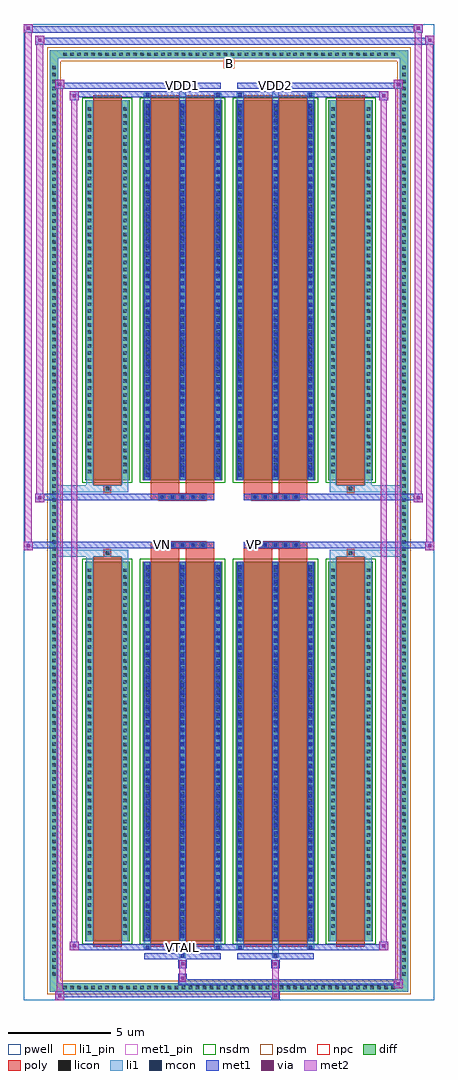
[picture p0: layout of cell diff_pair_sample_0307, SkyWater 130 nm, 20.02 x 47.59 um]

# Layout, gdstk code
import gdstk
lib = gdstk.Library(unit=1e-6, precision=5e-09)
def R(c, l, rs):  # rectangles x0, y0, x1, y1
    for r in rs: c.add(gdstk.rectangle(r[:2], r[2:], *l))
def A(c, l, x, y, w, h, nx, ny, dx, dy):  # array of equal rectangles
    R(c, l, [(x+i*dx, y+j*dy, x+i*dx+w, y+j*dy+h) for i in range(nx) for j in range(ny)])
def P(c, l, *ps):  # polygons
    for p in ps: c.add(gdstk.Polygon(p, *l))
pwell = (64, 44)
diff = (65, 20)
poly = (66, 20)
licon = (66, 44)
li1_pin = (67, 16)
li1 = (67, 20)
mcon = (67, 44)
met1_pin = (68, 16)
met1 = (68, 20)
via = (68, 44)
met2 = (69, 20)
nsdm = (93, 44)
psdm = (94, 20)
npc = (95, 20)

diff_pair_sample_0307 = lib.new_cell('diff_pair_sample_0307')
R(diff_pair_sample_0307, pwell, [(-10.01,-23.36,10.01,24.23), (-7.33,-21.55,-0.01,-0.805), (0.01,-21.55,7.33,-0.805), (-7.33,0.805,-0.01,21.55), (0.01,0.805,7.33,21.55)])
A(diff_pair_sample_0307, diff, -8.195, -22.96, 0.41, 0.41, 48, 2, 0.34, 45.51)
A(diff_pair_sample_0307, diff, -8.74, -22.305, 0.41, 0.41, 1, 131, 0, 0.34)
A(diff_pair_sample_0307, diff, 8.33, -22.305, 0.41, 0.41, 1, 131, 0, 0.34)
R(diff_pair_sample_0307, diff, [(-8.195,-22.96,8.195,-22.55), (-8.74,-22.305,-8.33,22.305), (8.33,-22.305,8.74,22.305), (-7.02,-20.505,-4.85,-1.985), (-4.21,-20.505,-0.32,-1.985), (0.32,-20.505,4.21,-1.985), (4.85,-20.505,7.02,-1.985), (-7.02,1.985,-4.85,20.505), (-4.21,1.985,-0.32,20.505), (0.32,1.985,4.21,20.505), (4.85,1.985,7.02,20.505), (-8.195,22.55,8.195,22.96)])
P(diff_pair_sample_0307, diff, [(8.74,22.96),(-8.74,22.96),(-8.74,-22.55),(-8.33,-22.55),(-8.33,22.55),(8.33,22.55),(8.33,-22.55),(-8.33,-22.55),(-8.74,-22.55),(-8.74,-22.96),(8.74,-22.96)])
A(diff_pair_sample_0307, poly, -3.43, -1.335, 0.33, 0.33, 5, 2, 0.5, 2.34)
A(diff_pair_sample_0307, poly, 1.1, -1.335, 0.33, 0.33, 5, 2, 0.5, 2.34)
R(diff_pair_sample_0307, poly, [(-6.63,-20.755,-5.24,-1.735), (-3.82,-20.755,-2.43,-1.735), (-2.1,-20.755,-0.71,-1.735), (0.71,-20.755,2.1,-1.735), (2.43,-20.755,3.82,-1.735), (5.24,-20.755,6.63,-1.735), (-6.1,-1.735,-5.77,-1.405), (-6.1,-1.735,-5.77,-1.405), (-3.82,-1.735,-2.43,-1.335), (-2.1,-1.735,-0.71,-1.335), (0.71,-1.735,2.1,-1.335), (2.43,-1.735,3.82,-1.335), (5.77,-1.735,6.1,-1.405), (5.77,-1.735,6.1,-1.405), (-3.82,-1.335,-0.71,-1.005), (0.71,-1.335,3.82,-1.005), (-3.82,1.005,-0.71,1.335), (0.71,1.005,3.82,1.335), (-3.82,1.335,-2.43,1.735), (-2.1,1.335,-0.71,1.735), (0.71,1.335,2.1,1.735), (2.43,1.335,3.82,1.735), (-6.1,1.405,-5.77,1.735), (-6.1,1.405,-5.77,1.735), (5.77,1.405,6.1,1.735), (5.77,1.405,6.1,1.735), (-6.63,1.735,-5.24,20.755), (-3.82,1.735,-2.43,20.755), (-2.1,1.735,-0.71,20.755), (0.71,1.735,2.1,20.755), (2.43,1.735,3.82,20.755), (5.24,1.735,6.63,20.755)])
A(diff_pair_sample_0307, licon, -8.075, -22.84, 0.17, 0.17, 48, 2, 0.34, 45.51)
A(diff_pair_sample_0307, licon, -8.62, -22.185, 0.17, 0.17, 1, 131, 0, 0.34)
A(diff_pair_sample_0307, licon, 8.45, -22.185, 0.17, 0.17, 1, 131, 0, 0.34)
A(diff_pair_sample_0307, licon, -6.88, -20.17, 0.17, 0.17, 1, 53, 0, 0.34)
A(diff_pair_sample_0307, licon, -5.16, -20.17, 0.17, 0.17, 1, 53, 0, 0.34)
A(diff_pair_sample_0307, licon, -4.07, -20.17, 0.17, 0.17, 3, 53, 1.72, 0.34)
A(diff_pair_sample_0307, licon, 0.46, -20.17, 0.17, 0.17, 3, 53, 1.72, 0.34)
A(diff_pair_sample_0307, licon, 4.99, -20.17, 0.17, 0.17, 1, 53, 0, 0.34)
A(diff_pair_sample_0307, licon, 6.71, -20.17, 0.17, 0.17, 1, 53, 0, 0.34)
A(diff_pair_sample_0307, licon, -3.35, -1.255, 0.17, 0.17, 5, 2, 0.5, 2.34)
A(diff_pair_sample_0307, licon, 1.18, -1.255, 0.17, 0.17, 5, 2, 0.5, 2.34)
A(diff_pair_sample_0307, licon, -6.88, 2.32, 0.17, 0.17, 1, 53, 0, 0.34)
A(diff_pair_sample_0307, licon, -5.16, 2.32, 0.17, 0.17, 1, 53, 0, 0.34)
A(diff_pair_sample_0307, licon, -4.07, 2.32, 0.17, 0.17, 3, 53, 1.72, 0.34)
A(diff_pair_sample_0307, licon, 0.46, 2.32, 0.17, 0.17, 3, 53, 1.72, 0.34)
A(diff_pair_sample_0307, licon, 4.99, 2.32, 0.17, 0.17, 1, 53, 0, 0.34)
A(diff_pair_sample_0307, licon, 6.71, 2.32, 0.17, 0.17, 1, 53, 0, 0.34)
R(diff_pair_sample_0307, licon, [(-6.02,-1.655,-5.85,-1.485), (5.85,-1.655,6.02,-1.485), (-6.02,1.485,-5.85,1.655), (5.85,1.485,6.02,1.655)])
R(diff_pair_sample_0307, li1_pin, [(-0.25,22.05,0.25,22.55)])
A(diff_pair_sample_0307, li1, -8.155, -22.92, 0.33, 0.33, 48, 2, 0.34, 45.51)
A(diff_pair_sample_0307, li1, -8.7, -22.265, 0.33, 0.33, 1, 131, 0, 0.34)
A(diff_pair_sample_0307, li1, 8.37, -22.265, 0.33, 0.33, 1, 131, 0, 0.34)
A(diff_pair_sample_0307, li1, -4.15, -20.505, 0.33, 18.52, 3, 2, 1.72, 22.49)
A(diff_pair_sample_0307, li1, 0.38, -20.505, 0.33, 18.52, 3, 2, 1.72, 22.49)
A(diff_pair_sample_0307, li1, -4.07, -20.33, 0.17, 0.17, 3, 51, 1.72, 0.36)
A(diff_pair_sample_0307, li1, -4.07, -20.33, 0.17, 18.17, 3, 2, 1.72, 22.49)
A(diff_pair_sample_0307, li1, 0.46, -20.33, 0.17, 0.17, 3, 51, 1.72, 0.36)
A(diff_pair_sample_0307, li1, 0.46, -20.33, 0.17, 18.17, 3, 2, 1.72, 22.49)
A(diff_pair_sample_0307, li1, -6.96, -20.25, 0.33, 0.33, 1, 53, 0, 0.34)
A(diff_pair_sample_0307, li1, -5.24, -20.25, 0.33, 0.33, 1, 53, 0, 0.34)
A(diff_pair_sample_0307, li1, -4.15, -20.25, 0.33, 0.33, 3, 53, 1.72, 0.34)
A(diff_pair_sample_0307, li1, 0.38, -20.25, 0.33, 0.33, 3, 53, 1.72, 0.34)
A(diff_pair_sample_0307, li1, 4.91, -20.25, 0.33, 0.33, 1, 53, 0, 0.34)
A(diff_pair_sample_0307, li1, 6.63, -20.25, 0.33, 0.33, 1, 53, 0, 0.34)
A(diff_pair_sample_0307, li1, -3.43, -1.335, 0.33, 0.33, 5, 2, 0.5, 2.34)
A(diff_pair_sample_0307, li1, 1.1, -1.335, 0.33, 0.33, 5, 2, 0.5, 2.34)
A(diff_pair_sample_0307, li1, -4.07, 2.16, 0.17, 0.17, 3, 51, 1.72, 0.36)
A(diff_pair_sample_0307, li1, 0.46, 2.16, 0.17, 0.17, 3, 51, 1.72, 0.36)
A(diff_pair_sample_0307, li1, -6.96, 2.24, 0.33, 0.33, 1, 53, 0, 0.34)
A(diff_pair_sample_0307, li1, -5.24, 2.24, 0.33, 0.33, 1, 53, 0, 0.34)
A(diff_pair_sample_0307, li1, -4.15, 2.24, 0.33, 0.33, 3, 53, 1.72, 0.34)
A(diff_pair_sample_0307, li1, 0.38, 2.24, 0.33, 0.33, 3, 53, 1.72, 0.34)
A(diff_pair_sample_0307, li1, 4.91, 2.24, 0.33, 0.33, 1, 53, 0, 0.34)
A(diff_pair_sample_0307, li1, 6.63, 2.24, 0.33, 0.33, 1, 53, 0, 0.34)
R(diff_pair_sample_0307, li1, [(-8.74,-22.96,-8.33,-22.55), (-8.74,-22.96,-8.33,-22.55), (-8.33,-22.96,8.33,-22.55), (8.33,-22.96,8.74,-22.55), (8.33,-22.96,8.74,-22.55), (-8.74,-22.55,-8.33,22.55), (8.33,-22.55,8.74,22.55), (-2.43,-21.31,-2.1,-20.505), (-2.35,-21.31,-2.18,-21.14), (2.1,-21.31,2.43,-20.505), (2.18,-21.31,2.35,-21.14), (-4.15,-20.88,-3.82,-20.505), (-4.07,-20.88,-3.9,-20.71), (-0.71,-20.88,-0.38,-20.505), (-0.63,-20.88,-0.46,-20.71), (0.38,-20.88,0.71,-20.505), (0.46,-20.88,0.63,-20.71), (3.82,-20.88,4.15,-20.505), (3.9,-20.88,4.07,-20.71), (-6.96,-20.505,-6.63,-1.985), (-5.24,-20.505,-4.91,-1.985), (4.91,-20.505,5.24,-1.985), (6.63,-20.505,6.96,-1.985), (-6.96,-1.985,-6.63,-1.405), (-5.24,-1.985,-4.91,-1.405), (4.91,-1.985,5.24,-1.405), (6.63,-1.985,6.96,-1.405), (-8.74,-1.735,-6.1,-1.405), (-6.96,-1.735,-6.1,-1.405), (-6.1,-1.735,-5.77,-1.405), (-5.77,-1.735,-4.91,-1.405), (4.91,-1.735,5.77,-1.405), (5.77,-1.735,6.1,-1.405), (5.77,-1.735,8.74,-1.405), (6.1,-1.735,6.96,-1.405), (-8.74,1.405,-6.1,1.735), (-6.96,1.405,-6.1,1.735), (-6.96,1.405,-6.63,1.985), (-6.1,1.405,-5.77,1.735), (-5.77,1.405,-4.91,1.735), (-5.24,1.405,-4.91,1.985), (4.91,1.405,5.77,1.735), (4.91,1.405,5.24,1.985), (5.77,1.405,6.1,1.735), (5.77,1.405,8.74,1.735), (6.1,1.405,6.96,1.735), (6.63,1.405,6.96,1.985), (-6.96,1.985,-6.63,20.505), (-5.24,1.985,-4.91,20.505), (4.91,1.985,5.24,20.505), (6.63,1.985,6.96,20.505), (-4.15,20.505,-3.82,20.88), (-2.43,20.505,-2.1,21.31), (-0.71,20.505,-0.38,20.88), (0.38,20.505,0.71,20.88), (2.1,20.505,2.43,21.31), (3.82,20.505,4.15,20.88), (-4.07,20.71,-3.9,20.88), (-0.63,20.71,-0.46,20.88), (0.46,20.71,0.63,20.88), (3.9,20.71,4.07,20.88), (-2.35,21.14,-2.18,21.31), (2.18,21.14,2.35,21.31), (-8.74,22.55,-8.33,22.96), (-8.74,22.55,-8.33,22.96), (-8.33,22.55,8.33,22.96), (8.33,22.55,8.74,22.96), (8.33,22.55,8.74,22.96)])
A(diff_pair_sample_0307, mcon, -4.07, -20.33, 0.17, 0.17, 3, 51, 1.72, 0.36)
A(diff_pair_sample_0307, mcon, 0.46, -20.33, 0.17, 0.17, 3, 51, 1.72, 0.36)
A(diff_pair_sample_0307, mcon, -3.35, -1.255, 0.17, 0.17, 5, 2, 0.5, 2.34)
A(diff_pair_sample_0307, mcon, 1.18, -1.255, 0.17, 0.17, 5, 2, 0.5, 2.34)
A(diff_pair_sample_0307, mcon, -4.07, 2.16, 0.17, 0.17, 3, 51, 1.72, 0.36)
A(diff_pair_sample_0307, mcon, 0.46, 2.16, 0.17, 0.17, 3, 51, 1.72, 0.36)
R(diff_pair_sample_0307, mcon, [(-2.35,-21.31,-2.18,-21.14), (2.18,-21.31,2.35,-21.14), (-4.07,-20.88,-3.9,-20.71), (-0.63,-20.88,-0.46,-20.71), (0.46,-20.88,0.63,-20.71), (3.9,-20.88,4.07,-20.71), (-4.07,20.71,-3.9,20.88), (-0.63,20.71,-0.46,20.88), (0.46,20.71,0.63,20.88), (3.9,20.71,4.07,20.88), (-2.35,21.14,-2.18,21.31), (2.18,21.14,2.35,21.31)])
R(diff_pair_sample_0307, met1_pin, [(-2.4,-20.92,-2.13,-20.65), (-3.4,-1.295,-3.13,-1.025), (1.13,-1.295,1.4,-1.025), (-2.4,21.1,-2.13,21.37), (2.13,21.1,2.4,21.37)])
A(diff_pair_sample_0307, met1, -4.13, -20.505, 0.29, 18.52, 3, 2, 1.72, 22.49)
A(diff_pair_sample_0307, met1, 0.4, -20.505, 0.29, 18.52, 3, 2, 1.72, 22.49)
A(diff_pair_sample_0307, met1, -4.13, -20.39, 0.29, 0.29, 3, 51, 1.72, 0.36)
A(diff_pair_sample_0307, met1, 0.4, -20.39, 0.29, 0.29, 3, 51, 1.72, 0.36)
A(diff_pair_sample_0307, met1, -3.41, -1.315, 0.29, 0.29, 5, 2, 0.5, 2.34)
A(diff_pair_sample_0307, met1, 1.12, -1.315, 0.29, 0.29, 5, 2, 0.5, 2.34)
A(diff_pair_sample_0307, met1, -4.13, 2.1, 0.29, 0.29, 3, 51, 1.72, 0.36)
A(diff_pair_sample_0307, met1, 0.4, 2.1, 0.29, 0.29, 3, 51, 1.72, 0.36)
R(diff_pair_sample_0307, met1, [(-8.47,-23.36,-8.04,-22.93), (2.05,-23.36,2.48,-22.93), (-8.47,-23.22,2.48,-22.93), (8.04,-22.79,8.47,-22.36), (-2.48,-22.65,8.47,-22.36), (-2.48,-22.51,-2.05,-22.08), (-2.48,-21.8,-2.05,-21.37), (2.05,-21.8,2.48,-21.37), (-4.13,-21.37,-0.4,-21.08), (-2.41,-21.37,-2.12,-21.08), (0.4,-21.37,4.13,-21.08), (2.12,-21.37,2.41,-21.08), (-7.76,-20.94,-7.33,-20.51), (-7.76,-20.94,-4.13,-20.65), (-4.13,-20.94,-3.84,-20.65), (-4.13,-20.94,-0.4,-20.65), (-0.69,-20.94,-0.4,-20.65), (-0.4,-20.94,0.4,-20.65), (0.4,-20.94,0.69,-20.65), (0.4,-20.94,4.13,-20.65), (3.84,-20.94,4.13,-20.65), (4.13,-20.94,7.76,-20.65), (7.33,-20.94,7.76,-20.51), (-10.01,-1.435,-9.58,-1.005), (9.58,-1.435,10.01,-1.005), (-10.01,-1.335,-0.71,-1.005), (-3.82,-1.335,-0.71,-1.005), (0.71,-1.335,3.82,-1.005), (0.71,-1.335,10.01,-1.005), (-9.44,0.905,-9.01,1.335), (9.01,0.905,9.44,1.335), (-9.44,1.005,-3.82,1.335), (-3.82,1.005,-0.71,1.335), (0.71,1.005,3.82,1.335), (3.82,1.005,9.44,1.335), (-7.76,20.51,-7.33,20.94), (7.33,20.51,7.76,20.94), (-7.76,20.65,-4.13,20.94), (-4.13,20.65,-3.84,20.94), (-4.13,20.65,-0.4,20.94), (-0.69,20.65,-0.4,20.94), (-0.4,20.65,0.4,20.94), (0.4,20.65,0.69,20.94), (0.4,20.65,4.13,20.94), (3.84,20.65,4.13,20.94), (4.13,20.65,7.76,20.94), (-8.47,21.08,-8.04,21.51), (-8.47,21.08,-4.13,21.37), (-4.13,21.08,-0.4,21.37), (-2.41,21.08,-2.12,21.37), (0.4,21.08,4.13,21.37), (2.12,21.08,2.41,21.37), (4.13,21.08,8.47,21.37), (8.04,21.08,8.47,21.51), (-9.44,23.23,-9.01,23.66), (-9.44,23.23,-7.33,23.56), (-7.33,23.23,7.33,23.56), (7.33,23.23,10.01,23.56), (9.58,23.23,10.01,23.66), (-10.01,23.8,-9.58,24.23), (-10.01,23.8,-7.33,24.13), (-7.33,23.8,7.33,24.13), (7.33,23.8,9.44,24.13), (9.01,23.8,9.44,24.23)])
R(diff_pair_sample_0307, via, [(-8.33,-23.22,-8.18,-23.07), (2.19,-23.22,2.34,-23.07), (8.18,-22.65,8.33,-22.5), (-2.34,-22.37,-2.19,-22.22), (-2.34,-21.66,-2.19,-21.51), (2.19,-21.66,2.34,-21.51), (-7.62,-20.8,-7.47,-20.65), (7.47,-20.8,7.62,-20.65), (-9.87,-1.295,-9.72,-1.145), (9.72,-1.295,9.87,-1.145), (-9.3,1.045,-9.15,1.195), (9.15,1.045,9.3,1.195), (-7.62,20.65,-7.47,20.8), (7.47,20.65,7.62,20.8), (-8.33,21.22,-8.18,21.37), (8.18,21.22,8.33,21.37), (-9.3,23.37,-9.15,23.52), (9.72,23.37,9.87,23.52), (-9.87,23.94,-9.72,24.09), (9.15,23.94,9.3,24.09)])
R(diff_pair_sample_0307, met2, [(-8.47,-23.36,-8.04,-22.93), (-8.4,-23.36,-8.11,21.51), (-8.11,-23.36,-8.04,-22.93), (-8.42,-23.31,-8.09,-22.98), (2.1,-23.31,2.43,-22.98), (2.1,-22.98,2.43,-21.75), (8.04,-22.79,8.47,-22.36), (8.11,-22.79,8.4,21.51), (8.4,-22.79,8.47,-22.36), (8.09,-22.74,8.42,-22.41), (-2.43,-22.46,-2.1,-22.13), (-2.43,-22.13,-2.1,-21.75), (-2.43,-21.75,-2.1,-21.42), (2.1,-21.75,2.43,-21.42), (-7.76,-20.94,-7.33,-20.51), (-7.69,-20.94,-7.4,20.94), (-7.4,-20.94,-7.33,-20.51), (7.33,-20.94,7.76,-20.51), (7.4,-20.94,7.69,20.94), (7.69,-20.94,7.76,-20.51), (-7.71,-20.89,-7.38,-20.56), (7.38,-20.89,7.71,-20.56), (-10.01,-1.435,-9.58,-1.005), (-9.96,-1.435,-9.63,24.23), (-9.63,-1.435,-9.58,-1.005), (9.58,-1.435,10.01,-1.005), (9.63,-1.435,9.96,23.66), (9.96,-1.435,10.01,-1.005), (-9.96,-1.385,-9.63,-1.055), (9.63,-1.385,9.96,-1.055), (-9.44,0.905,-9.01,1.335), (-9.39,0.905,-9.06,23.66), (-9.06,0.905,-9.01,1.335), (9.01,0.905,9.44,1.335), (9.06,0.905,9.39,24.23), (9.39,0.905,9.44,1.335), (-9.39,0.955,-9.06,1.285), (9.06,0.955,9.39,1.285), (-7.76,20.51,-7.33,20.94), (-7.4,20.51,-7.33,20.94), (7.33,20.51,7.76,20.94), (7.69,20.51,7.76,20.94), (-7.71,20.56,-7.38,20.89), (7.38,20.56,7.71,20.89), (-8.47,21.08,-8.04,21.51), (-8.11,21.08,-8.04,21.51), (8.04,21.08,8.47,21.51), (8.4,21.08,8.47,21.51), (-8.42,21.13,-8.09,21.46), (8.09,21.13,8.42,21.46), (-9.44,23.23,-9.01,23.66), (-9.06,23.23,-9.01,23.66), (9.58,23.23,10.01,23.66), (9.96,23.23,10.01,23.66), (-9.39,23.28,-9.06,23.61), (9.63,23.28,9.96,23.61), (-10.01,23.8,-9.58,24.23), (-9.63,23.8,-9.58,24.23), (9.01,23.8,9.44,24.23), (9.39,23.8,9.44,24.23), (-9.96,23.85,-9.63,24.18), (9.06,23.85,9.39,24.18)])
R(diff_pair_sample_0307, nsdm, [(-7.15,-20.635,-4.72,-1.855), (-4.34,-20.635,-0.19,-1.855), (0.19,-20.635,4.34,-1.855), (4.72,-20.635,7.15,-1.855), (-7.15,1.855,-4.72,20.635), (-4.34,1.855,-0.19,20.635), (0.19,1.855,4.34,20.635), (4.72,1.855,7.15,20.635)])
P(diff_pair_sample_0307, psdm, [(8.87,23.09),(-8.87,23.09),(-8.87,-22.42),(-8.2,-22.42),(-8.2,22.42),(8.2,22.42),(8.2,-22.42),(-8.2,-22.42),(-8.87,-22.42),(-8.87,-23.09),(8.87,-23.09)])
A(diff_pair_sample_0307, npc, -3.45, -1.355, 0.37, 0.37, 5, 2, 0.5, 2.34)
A(diff_pair_sample_0307, npc, 1.08, -1.355, 0.37, 0.37, 5, 2, 0.5, 2.34)
R(diff_pair_sample_0307, npc, [(-6.12,-1.755,-5.75,-1.385), (5.75,-1.755,6.12,-1.385), (-3.45,-1.355,-2.58,-0.985), (-3.45,-1.355,-2.58,-0.985), (-2.95,-1.355,-2.08,-0.985), (-2.95,-1.355,-2.08,-0.985), (-2.45,-1.355,-1.58,-0.985), (-2.45,-1.355,-1.58,-0.985), (-1.95,-1.355,-1.08,-0.985), (-1.95,-1.355,-1.08,-0.985), (1.08,-1.355,1.95,-0.985), (1.08,-1.355,1.95,-0.985), (1.58,-1.355,2.45,-0.985), (1.58,-1.355,2.45,-0.985), (2.08,-1.355,2.95,-0.985), (2.08,-1.355,2.95,-0.985), (2.58,-1.355,3.45,-0.985), (2.58,-1.355,3.45,-0.985), (-3.45,0.985,-2.58,1.355), (-3.45,0.985,-2.58,1.355), (-2.95,0.985,-2.08,1.355), (-2.95,0.985,-2.08,1.355), (-2.45,0.985,-1.58,1.355), (-2.45,0.985,-1.58,1.355), (-1.95,0.985,-1.08,1.355), (-1.95,0.985,-1.08,1.355), (1.08,0.985,1.95,1.355), (1.08,0.985,1.95,1.355), (1.58,0.985,2.45,1.355), (1.58,0.985,2.45,1.355), (2.08,0.985,2.95,1.355), (2.08,0.985,2.95,1.355), (2.58,0.985,3.45,1.355), (2.58,0.985,3.45,1.355), (-6.12,1.385,-5.75,1.755), (5.75,1.385,6.12,1.755)])
diff_pair_sample_0307.add(gdstk.Label('VTAIL', (-2.265,-20.785), layer=68, texttype=5))
diff_pair_sample_0307.add(gdstk.Label('VN', (-3.265,-1.16), layer=68, texttype=5))
diff_pair_sample_0307.add(gdstk.Label('VP', (1.265,-1.16), layer=68, texttype=5))
diff_pair_sample_0307.add(gdstk.Label('B', (0,22.3), layer=67, texttype=5))
diff_pair_sample_0307.add(gdstk.Label('VDD2', (2.265,21.235), layer=68, texttype=5))
diff_pair_sample_0307.add(gdstk.Label('VDD1', (-2.265,21.235), layer=68, texttype=5))

lib.write_gds('diff_pair_sample_0307.gds')
